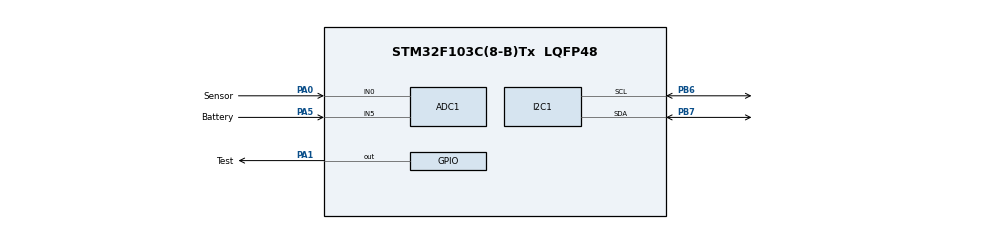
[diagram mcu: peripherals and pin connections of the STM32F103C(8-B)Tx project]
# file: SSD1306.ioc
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ADC1.Channel-0\#ChannelRegularConversion=ADC_CHANNEL_0
ADC1.Channel-1\#ChannelRegularConversion=ADC_CHANNEL_5
ADC1.ContinuousConvMode=DISABLE
ADC1.NbrOfConversion=2
ADC1.NbrOfConversionFlag=1
ADC1.Rank-0\#ChannelRegularConversion=1
ADC1.Rank-1\#ChannelRegularConversion=2
ADC1.SamplingTime-0\#ChannelRegularConversion=ADC_SAMPLETIME_239CYCLES_5
ADC1.SamplingTime-1\#ChannelRegularConversion=ADC_SAMPLETIME_239CYCLES_5
ADC1.master=1
Dma.ADC1.0.Direction=DMA_PERIPH_TO_MEMORY
Dma.ADC1.0.Instance=DMA1_Channel1
Dma.ADC1.0.MemDataAlignment=DMA_MDATAALIGN_HALFWORD
Dma.ADC1.0.MemInc=DMA_MINC_ENABLE
Dma.ADC1.0.Mode=DMA_CIRCULAR
Dma.ADC1.0.PeriphDataAlignment=DMA_PDATAALIGN_HALFWORD
Dma.ADC1.0.PeriphInc=DMA_PINC_DISABLE
Dma.ADC1.0.Priority=DMA_PRIORITY_LOW
Dma.Request0=ADC1
Mcu.Family=STM32F1
Mcu.Name=STM32F103C(8-B)Tx
Mcu.Package=LQFP48
NVIC.ADC1_2_IRQn=true\:0\:0\:false\:false\:true\:true\:true\:true
NVIC.DMA1_Channel1_IRQn=true\:0\:0\:false\:false\:true\:false\:true\:true
NVIC.PriorityGroup=NVIC_PRIORITYGROUP_4
PA0-WKUP.GPIO_Label=Sensor
PA0-WKUP.Signal=ADCx_IN0
PA1.GPIO_Label=Test
PA1.Signal=GPIO_Output
PA13.Mode=Serial_Wire
PA13.Signal=SYS_JTMS-SWDIO
PA14.Mode=Serial_Wire
PA14.Signal=SYS_JTCK-SWCLK
PA5.GPIO_Label=Battery
PA5.Signal=ADCx_IN5
PB6.Mode=I2C
PB6.Signal=I2C1_SCL
PB7.Mode=I2C
PB7.Signal=I2C1_SDA
ProjectManager.HeapSize=0x200
ProjectManager.StackSize=0x400
ProjectManager.TargetToolchain=STM32CubeIDE
RCC.APB1Freq_Value=8000000
RCC.APB2Freq_Value=8000000
SH.ADCx_IN0.0=ADC1_IN0,IN0
SH.ADCx_IN5.0=ADC1_IN5,IN5
board=custom

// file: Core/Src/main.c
/* USER CODE BEGIN Header */
/**
  ******************************************************************************
  * @file           : main.c
  * @brief          : Main program body
  ******************************************************************************
  * @attention
  *
  * Copyright (c) 2023 STMicroelectronics.
  * All rights reserved.
  *
  * This software is licensed under terms that can be found in the LICENSE file
  * in the root directory of this software component.
  * If no LICENSE file comes with this software, it is provided AS-IS.
  *
  ******************************************************************************
  */
/* USER CODE END Header */
#include "main.h"

/* USER CODE BEGIN Includes */
#include "ssd1306.h"
#include "ssd1306_tests.h"
#include "stdio.h"
#include "string.h"
/* USER CODE END Includes */

ADC_HandleTypeDef hadc1;
DMA_HandleTypeDef hdma_adc1;

I2C_HandleTypeDef hi2c1;

void SystemClock_Config(void);
static void MX_GPIO_Init(void);
static void MX_DMA_Init(void);
static void MX_I2C1_Init(void);
static void MX_ADC1_Init(void);

/* USER CODE BEGIN 0 */

uint16_t ADC_Value[2];
char buffer[50];
double Sensor;

//void HAL_ADC_ConvCpltCallback(ADC_HandleTypeDef* hadc)
//{
//  UNUSED(hadc);
//  if(hadc->Instance == ADC1)
//  {
//	ADC_Value[2] = HAL_ADC_GetValue(&hadc1);
//  }
//
//}
/* USER CODE END 0 */

int main(void)
{

  /* MCU Configuration--------------------------------------------------------*/

  /* Reset of all peripherals, Initializes the Flash interface and the Systick. */
  HAL_Init();

  /* Configure the system clock */
  SystemClock_Config();

  /* Initialize all configured peripherals */
  MX_GPIO_Init();
  MX_DMA_Init();
  MX_I2C1_Init();
  MX_ADC1_Init();
  /* USER CODE BEGIN 2 */

  ssd1306_Init();
  ssd1306_Fill(Black);

  ssd1306_SetCursor(24, 17);
  ssd1306_WriteString("DECIBEL", Font_11x18, White);
  ssd1306_SetCursor(33, 37);
  ssd1306_WriteString("METER", Font_11x18, White);
  ssd1306_UpdateScreen();
  HAL_Delay(2000);

  ssd1306_Fill(Black);
  ssd1306_Line(0, 12, 127, 12, White);
  ssd1306_DrawRectangle(96, 2, 124, 9, White);
  ssd1306_FillRectangle(98, 4, 122, 7, White);
  ssd1306_DrawPixel(94, 4, White);
  ssd1306_DrawPixel(94, 5, White);
  ssd1306_DrawPixel(94, 6, White);
  ssd1306_DrawPixel(94, 7, White);

  ssd1306_DrawRectangle(14, 19, 114, 31, White);
  ssd1306_FillRectangle(16, 21, 112, 29, White);

  ssd1306_SetCursor(2, 2);
  ssd1306_WriteString("THCS Que Nham", Font_6x8, White);
  ssd1306_UpdateScreen();

  /* USER CODE END 2 */

  /* Infinite loop */
  /* USER CODE BEGIN WHILE */
  while (1)
  {
	  HAL_ADC_Start_DMA(&hadc1, (uint32_t*)ADC_Value, 2);
	  HAL_Delay(50);

	  sprintf(buffer, "%d", ADC_Value[0]);

	  ssd1306_SetCursor(40, 37);
	  ssd1306_WriteString(buffer, Font_11x18, White);
	  ssd1306_UpdateScreen();
//	  ssd1306_TestDrawBitmap();
    /* USER CODE END WHILE */

  }
}

void SystemClock_Config(void)
{
  RCC_OscInitTypeDef RCC_OscInitStruct = {0};
  RCC_ClkInitTypeDef RCC_ClkInitStruct = {0};
  RCC_PeriphCLKInitTypeDef PeriphClkInit = {0};

  /** Initializes the RCC Oscillators according to the specified parameters
  * in the RCC_OscInitTypeDef structure.
  */
  RCC_OscInitStruct.OscillatorType = RCC_OSCILLATORTYPE_HSI;
  RCC_OscInitStruct.HSIState = RCC_HSI_ON;
  RCC_OscInitStruct.HSICalibrationValue = RCC_HSICALIBRATION_DEFAULT;
  RCC_OscInitStruct.PLL.PLLState = RCC_PLL_NONE;
  if (HAL_RCC_OscConfig(&RCC_OscInitStruct) != HAL_OK)
  {
    Error_Handler();
  }

  /** Initializes the CPU, AHB and APB buses clocks
  */
  RCC_ClkInitStruct.ClockType = RCC_CLOCKTYPE_HCLK|RCC_CLOCKTYPE_SYSCLK
                              |RCC_CLOCKTYPE_PCLK1|RCC_CLOCKTYPE_PCLK2;
  RCC_ClkInitStruct.SYSCLKSource = RCC_SYSCLKSOURCE_HSI;
  RCC_ClkInitStruct.AHBCLKDivider = RCC_SYSCLK_DIV1;
  RCC_ClkInitStruct.APB1CLKDivider = RCC_HCLK_DIV1;
  RCC_ClkInitStruct.APB2CLKDivider = RCC_HCLK_DIV1;

  if (HAL_RCC_ClockConfig(&RCC_ClkInitStruct, FLASH_LATENCY_0) != HAL_OK)
  {
    Error_Handler();
  }
  PeriphClkInit.PeriphClockSelection = RCC_PERIPHCLK_ADC;
  PeriphClkInit.AdcClockSelection = RCC_ADCPCLK2_DIV2;
  if (HAL_RCCEx_PeriphCLKConfig(&PeriphClkInit) != HAL_OK)
  {
    Error_Handler();
  }
}

static void MX_ADC1_Init(void)
{

  ADC_ChannelConfTypeDef sConfig = {0};

  /** Common config
  */
  hadc1.Instance = ADC1;
  hadc1.Init.ScanConvMode = ADC_SCAN_ENABLE;
  hadc1.Init.ContinuousConvMode = DISABLE;
  hadc1.Init.DiscontinuousConvMode = DISABLE;
  hadc1.Init.ExternalTrigConv = ADC_SOFTWARE_START;
  hadc1.Init.DataAlign = ADC_DATAALIGN_RIGHT;
  hadc1.Init.NbrOfConversion = 2;
  if (HAL_ADC_Init(&hadc1) != HAL_OK)
  {
    Error_Handler();
  }

  /** Configure Regular Channel
  */
  sConfig.Channel = ADC_CHANNEL_0;
  sConfig.Rank = ADC_REGULAR_RANK_1;
  sConfig.SamplingTime = ADC_SAMPLETIME_239CYCLES_5;
  if (HAL_ADC_ConfigChannel(&hadc1, &sConfig) != HAL_OK)
  {
    Error_Handler();
  }

  /** Configure Regular Channel
  */
  sConfig.Channel = ADC_CHANNEL_5;
  sConfig.Rank = ADC_REGULAR_RANK_2;
  if (HAL_ADC_ConfigChannel(&hadc1, &sConfig) != HAL_OK)
  {
    Error_Handler();
  }

}

static void MX_I2C1_Init(void)
{

  hi2c1.Instance = I2C1;
  hi2c1.Init.ClockSpeed = 100000;
  hi2c1.Init.DutyCycle = I2C_DUTYCYCLE_2;
  hi2c1.Init.OwnAddress1 = 0;
  hi2c1.Init.AddressingMode = I2C_ADDRESSINGMODE_7BIT;
  hi2c1.Init.DualAddressMode = I2C_DUALADDRESS_DISABLE;
  hi2c1.Init.OwnAddress2 = 0;
  hi2c1.Init.GeneralCallMode = I2C_GENERALCALL_DISABLE;
  hi2c1.Init.NoStretchMode = I2C_NOSTRETCH_DISABLE;
  if (HAL_I2C_Init(&hi2c1) != HAL_OK)
  {
    Error_Handler();
  }

}

static void MX_DMA_Init(void)
{

  /* DMA controller clock enable */
  __HAL_RCC_DMA1_CLK_ENABLE();

  /* DMA interrupt init */
  /* DMA1_Channel1_IRQn interrupt configuration */
  HAL_NVIC_SetPriority(DMA1_Channel1_IRQn, 0, 0);
  HAL_NVIC_EnableIRQ(DMA1_Channel1_IRQn);

}

static void MX_GPIO_Init(void)
{
  GPIO_InitTypeDef GPIO_InitStruct = {0};

  /* GPIO Ports Clock Enable */
  __HAL_RCC_GPIOA_CLK_ENABLE();
  __HAL_RCC_GPIOB_CLK_ENABLE();

  /*Configure GPIO pin Output Level */
  HAL_GPIO_WritePin(Test_GPIO_Port, Test_Pin, GPIO_PIN_RESET);

  /*Configure GPIO pin : Test_Pin */
  GPIO_InitStruct.Pin = Test_Pin;
  GPIO_InitStruct.Mode = GPIO_MODE_OUTPUT_PP;
  GPIO_InitStruct.Pull = GPIO_NOPULL;
  GPIO_InitStruct.Speed = GPIO_SPEED_FREQ_LOW;
  HAL_GPIO_Init(Test_GPIO_Port, &GPIO_InitStruct);

}

void Error_Handler(void)
{
  __disable_irq();
  while (1)
  {
  }
}
